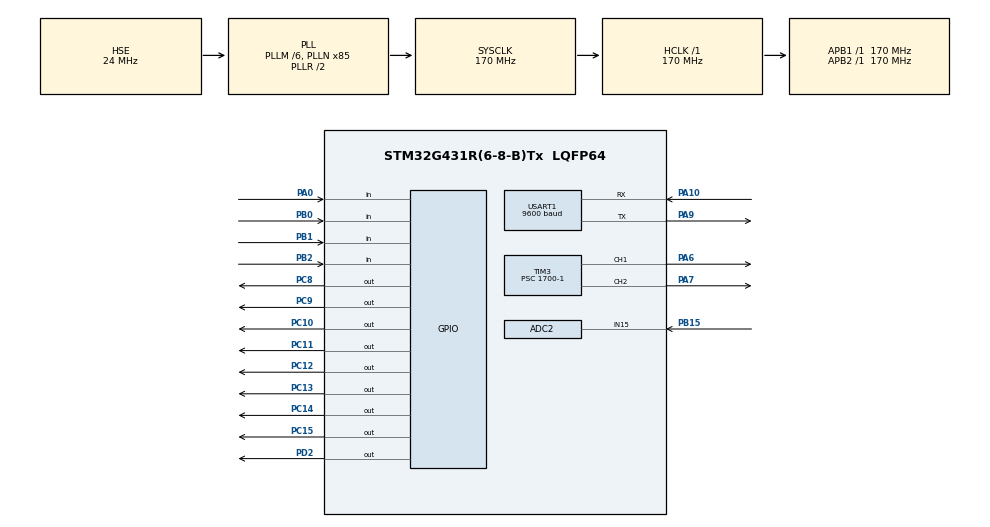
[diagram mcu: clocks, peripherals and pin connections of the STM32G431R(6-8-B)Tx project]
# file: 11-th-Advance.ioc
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ADC2.Channel-0\#ChannelRegularConversion=ADC_CHANNEL_15
ADC2.ClockPrescaler=ADC_CLOCK_SYNC_PCLK_DIV4
ADC2.ContinuousConvMode=ENABLE
ADC2.DMAContinuousRequests=DISABLE
ADC2.NbrOfConversionFlag=1
ADC2.OffsetNumber-0\#ChannelRegularConversion=ADC_OFFSET_NONE
ADC2.Overrun=ADC_OVR_DATA_OVERWRITTEN
ADC2.Rank-0\#ChannelRegularConversion=1
ADC2.SamplingTime-0\#ChannelRegularConversion=ADC_SAMPLETIME_2CYCLES_5
Mcu.Family=STM32G4
Mcu.Name=STM32G431R(6-8-B)Tx
Mcu.Package=LQFP64
NVIC.ADC1_2_IRQn=true\:0\:0\:false\:false\:true\:true\:true\:true
NVIC.PriorityGroup=NVIC_PRIORITYGROUP_4
NVIC.TIM3_IRQn=true\:0\:0\:false\:false\:true\:true\:true\:true
PA0.Signal=GPIO_Input
PA10.Mode=Asynchronous
PA10.Signal=USART1_RX
PA13.Mode=Serial_Wire
PA13.Signal=SYS_JTMS-SWDIO
PA14.Mode=Serial_Wire
PA14.Signal=SYS_JTCK-SWCLK
PA6.Signal=S_TIM3_CH1
PA7.Signal=S_TIM3_CH2
PA9.Mode=Asynchronous
PA9.Signal=USART1_TX
PB0.Signal=GPIO_Input
PB1.Signal=GPIO_Input
PB15.Mode=IN15-Single-Ended
PB15.Signal=ADC2_IN15
PB2.Signal=GPIO_Input
PC10.Signal=GPIO_Output
PC11.Signal=GPIO_Output
PC12.Signal=GPIO_Output
PC13.Signal=GPIO_Output
PC14-OSC32_IN.Signal=GPIO_Output
PC15-OSC32_OUT.Signal=GPIO_Output
PC8.Signal=GPIO_Output
PC9.Signal=GPIO_Output
PD2.Signal=GPIO_Output
PF0-OSC_IN.Mode=HSE-External-Oscillator
PF0-OSC_IN.Signal=RCC_OSC_IN
PF1-OSC_OUT.Mode=HSE-External-Oscillator
PF1-OSC_OUT.Signal=RCC_OSC_OUT
ProjectManager.HeapSize=0x200
ProjectManager.StackSize=0x400
ProjectManager.TargetToolchain=MDK-ARM V5.32
RCC.ADC12CLockSelection=RCC_ADC12CLKSOURCE_PLL
RCC.ADC12Freq_Value=170000000
RCC.AHBFreq_Value=170000000
RCC.APB1Freq_Value=170000000
RCC.APB1TimFreq_Value=170000000
RCC.APB2Freq_Value=170000000
RCC.APB2TimFreq_Value=170000000
RCC.CortexFreq_Value=170000000
RCC.EXTERNAL_CLOCK_VALUE=12288000
RCC.HCLKFreq_Value=170000000
RCC.HSE_VALUE=24000000
RCC.HSI48_VALUE=48000000
RCC.HSI_VALUE=16000000
RCC.LSE_VALUE=32768
RCC.PLLM=RCC_PLLM_DIV6
RCC.PLLN=85
RCC.PLLSourceVirtual=RCC_PLLSOURCE_HSE
RCC.SYSCLKFreq_VALUE=170000000
RCC.SYSCLKSource=RCC_SYSCLKSOURCE_PLLCLK
RCC.USBFreq_Value=170000000
RCC.VCOOutputFreq_Value=340000000
SH.S_TIM3_CH1.0=TIM3_CH1,Output Compare1 CH1
SH.S_TIM3_CH2.0=TIM3_CH2,Output Compare2 CH2
TIM3.Channel-Output\ Compare1\ CH1=TIM_CHANNEL_1
TIM3.Channel-Output\ Compare2\ CH2=TIM_CHANNEL_2
TIM3.OCMode_1=TIM_OCMODE_TOGGLE
TIM3.OCMode_2=TIM_OCMODE_TOGGLE
TIM3.PeriodNoDither=10000-1
TIM3.Prescaler=1700-1
TIM3.PulseNoDither_1=500
TIM3.PulseNoDither_2=250
USART1.BaudRate=9600
USART1.VirtualMode-Asynchronous=VM_ASYNC
VP_SYS_VS_DBSignals.Mode=DisableDeadBatterySignals
board=custom

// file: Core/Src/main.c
/* USER CODE BEGIN Header */
/**
  ******************************************************************************
  * @file           : main.c
  * @brief          : Main program body
  ******************************************************************************
  * @attention
  *
  * Copyright (c) 2022 STMicroelectronics.
  * All rights reserved.
  *
  * This software is licensed under terms that can be found in the LICENSE file
  * in the root directory of this software component.
  * If no LICENSE file comes with this software, it is provided AS-IS.
  *
  ******************************************************************************
  */
/* USER CODE END Header */
#include "main.h"
#include "adc.h"
#include "tim.h"
#include "usart.h"
#include "gpio.h"

/* USER CODE BEGIN Includes */
#include "lcd.h"
#include "key.h"
/* USER CODE END Includes */

/* USER CODE BEGIN PV */
char* nowPage=DATA_PAGE,*lastPage=DATA_PAGE;
char* nowMode=MODE_AUTO;
uint32_t ADC_Value;
double voltage;
uint16_t PA6duty=10,PA7duty=10,AUTOduty=50,PA6_PERIOD=PERIOD_100HZ,PA7_PERIOD=PERIOD_200HZ;
/* USER CODE END PV */

void SystemClock_Config(void);
/* USER CODE BEGIN PFP */
void LCD_Show(void);
/* USER CODE END PFP */

int main(void)
{

  /* MCU Configuration--------------------------------------------------------*/

  /* Reset of all peripherals, Initializes the Flash interface and the Systick. */
  HAL_Init();

  /* Configure the system clock */
  SystemClock_Config();

  /* Initialize all configured peripherals */
  MX_GPIO_Init();
  MX_ADC2_Init();
  MX_USART1_UART_Init();
  MX_TIM3_Init();
  /* USER CODE BEGIN 2 */
	LCD_Init();
	LCD_Clear(Black);
	LCD_SetBackColor(Black);
	LCD_SetTextColor(White);
	HAL_ADC_Start(&hadc2);
	HAL_TIM_OC_Start_IT(&htim3,TIM_CHANNEL_1);
	HAL_TIM_OC_Start_IT(&htim3,TIM_CHANNEL_2);
  /* USER CODE END 2 */

  /* Infinite loop */
  /* USER CODE BEGIN WHILE */
  while (1)
  {
		KEY_Process();
		LCD_Show();
    /* USER CODE END WHILE */

  }
}

void SystemClock_Config(void)
{
  RCC_OscInitTypeDef RCC_OscInitStruct = {0};
  RCC_ClkInitTypeDef RCC_ClkInitStruct = {0};

  /** Configure the main internal regulator output voltage
  */
  HAL_PWREx_ControlVoltageScaling(PWR_REGULATOR_VOLTAGE_SCALE1_BOOST);

  /** Initializes the RCC Oscillators according to the specified parameters
  * in the RCC_OscInitTypeDef structure.
  */
  RCC_OscInitStruct.OscillatorType = RCC_OSCILLATORTYPE_HSE;
  RCC_OscInitStruct.HSEState = RCC_HSE_ON;
  RCC_OscInitStruct.PLL.PLLState = RCC_PLL_ON;
  RCC_OscInitStruct.PLL.PLLSource = RCC_PLLSOURCE_HSE;
  RCC_OscInitStruct.PLL.PLLM = RCC_PLLM_DIV6;
  RCC_OscInitStruct.PLL.PLLN = 85;
  RCC_OscInitStruct.PLL.PLLP = RCC_PLLP_DIV2;
  RCC_OscInitStruct.PLL.PLLQ = RCC_PLLQ_DIV2;
  RCC_OscInitStruct.PLL.PLLR = RCC_PLLR_DIV2;
  if (HAL_RCC_OscConfig(&RCC_OscInitStruct) != HAL_OK)
  {
    Error_Handler();
  }

  /** Initializes the CPU, AHB and APB buses clocks
  */
  RCC_ClkInitStruct.ClockType = RCC_CLOCKTYPE_HCLK|RCC_CLOCKTYPE_SYSCLK
                              |RCC_CLOCKTYPE_PCLK1|RCC_CLOCKTYPE_PCLK2;
  RCC_ClkInitStruct.SYSCLKSource = RCC_SYSCLKSOURCE_PLLCLK;
  RCC_ClkInitStruct.AHBCLKDivider = RCC_SYSCLK_DIV1;
  RCC_ClkInitStruct.APB1CLKDivider = RCC_HCLK_DIV1;
  RCC_ClkInitStruct.APB2CLKDivider = RCC_HCLK_DIV1;

  if (HAL_RCC_ClockConfig(&RCC_ClkInitStruct, FLASH_LATENCY_4) != HAL_OK)
  {
    Error_Handler();
  }
}

/* USER CODE BEGIN 4 */
void LCD_Show(void){
	char tem[20]={0};
	if(strcmp(lastPage,nowPage)){
		lastPage=nowPage;
		LCD_Clear(Black);
	}
	sprintf(tem,"      %s",nowPage);
	LCD_DisplayStringLine(Line0,(uint8_t *)tem);
	memset(tem,0,sizeof(tem));

	ADC_Value=HAL_ADC_GetValue(&hadc2);
	AUTOduty=(ADC_Value/4095.0)*100;
	voltage=(ADC_Value/4095.0)*3.3;
	if(!AUTOduty){
		HAL_TIM_OC_Stop_IT(&htim3,TIM_CHANNEL_1);
		HAL_TIM_OC_Stop_IT(&htim3,TIM_CHANNEL_2);
	}
	else{
		HAL_TIM_OC_Start_IT(&htim3,TIM_CHANNEL_1);
		HAL_TIM_OC_Start_IT(&htim3,TIM_CHANNEL_2);
	}

	if(!strcmp(nowPage,DATA_PAGE)){
		sprintf(tem,"    V:%.2fV",voltage);
		LCD_DisplayStringLine(Line3,(uint8_t *)tem);
		memset(tem,0,sizeof(tem));
		sprintf(tem,"    Mode:%s",nowMode);
		LCD_DisplayStringLine(Line5,(uint8_t *)tem);
		memset(tem,0,sizeof(tem));
	}
	else{
		sprintf(tem,"    PA6:%d%%",PA6duty);
		LCD_DisplayStringLine(Line3,(uint8_t *)tem);
		memset(tem,0,sizeof(tem));
		sprintf(tem,"    PA7:%d%%",PA7duty);
		LCD_DisplayStringLine(Line5,(uint8_t *)tem);
		memset(tem,0,sizeof(tem));
	}

}
/* USER CODE END 4 */

void Error_Handler(void)
{
  __disable_irq();
  while (1)
  {
  }
}
